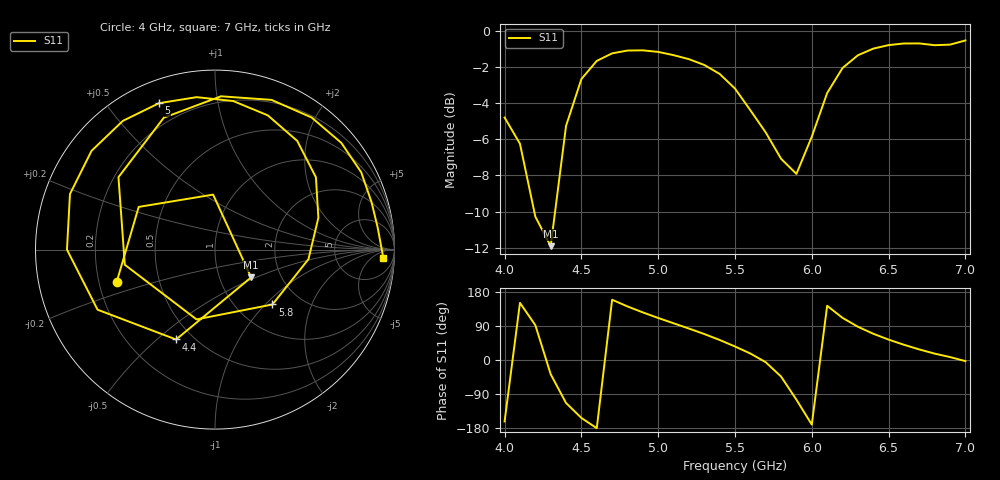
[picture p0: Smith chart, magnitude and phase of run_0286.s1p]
! Touchstone file exported from HFSS 2024.2.0
!  File:  C:/Users/wsak9/Desktop/Sim Fast/Widenad Patch/WP_AI_V1_sweep.aedt
!  Generated:  03:04:42 AM Oct 14, 2026
!  Design:  A1_model
!  Project:  WP_AI_V1_sweep
!  Setup:  Setup1
!  Solution:  Sweep
! Variables:
!  Air_gap = 2.5mm
!  Curve_Amp1 = 3.53
!  Curve_len1 = 1
!  Curve_pos = 13.295mm
!  Extra = 3.93mm
!  H_sub = 0.79mm
!  L_Patch = 22.59mm
!  L_Patch1 = 19.26mm
!  Sx = 1.42mm
!  Sy = 4.2mm
!  WS = 0.67mm
!  W_Patch = 14.09mm
!  W_Patch1 = 15.33mm
!Data is not renormalized
# GHz S MA
! Terminal data exported
! Port[1] = 1
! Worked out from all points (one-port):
!   31 points, 4 GHz to 7 GHz, reference per port
!   lowest |S11| = -11.9 dB at 4.3 GHz (marker M1), VSWR 1.68
!   |S11| at or under -10 dB: 4.193 GHz to 4.329 GHz (135.4 MHz wide, 3.18 % of centre)
!   S11 on the Smith chart (normalised r, x): 4 GHz: 0.28, -0.15; 4.4 GHz: 0.41, -0.58; 5 GHz: 0.10, +0.68; 5.8 GHz: 1.45, -1.10; 7 GHz: 19, -16
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4  0.5754 -162.0
4.1  0.4871 150.8
4.2  0.3065 92.0
4.3  0.254 -37.5
4.4  0.5458 -113.4
4.5  0.735 -152.9
4.6  0.8248 -180.0
4.7  0.8653 159.0
4.8  0.8809 141.3
4.9  0.882 125.6
5  0.8733 110.9
5.1  0.8555 96.9
5.2  0.8339 83.0
5.3  0.8037 68.5
5.4  0.7594 52.9
5.5  0.6917 35.6
5.6  0.6027 17.1
5.7  0.5235 -5.9
5.8  0.4428 -43.7
5.9  0.4022 -104.8
6  0.5095 -170.5
6.1  0.6724 143.1
6.2  0.7883 111.2
6.3  0.8548 87.8
6.4  0.8916 69.3
6.5  0.9118 53.8
6.7  0.9216 27.8
7  0.9392 -2.9
